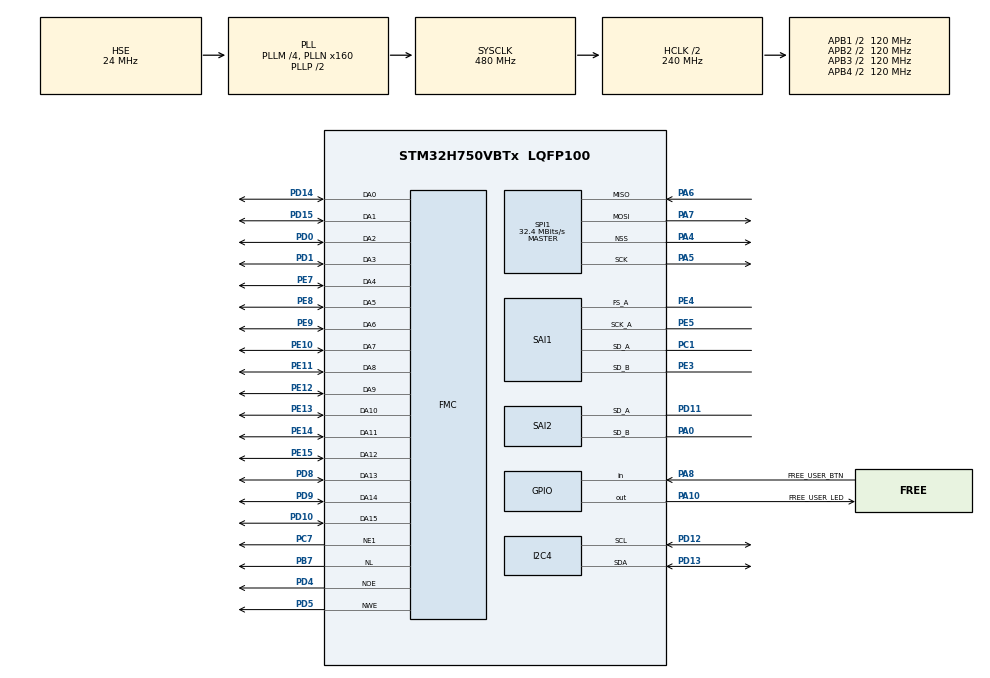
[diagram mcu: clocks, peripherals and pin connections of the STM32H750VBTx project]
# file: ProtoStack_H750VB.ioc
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CORTEX_M7.AccessPermission-Cortex_Memory_Protection_Unit_Region0_Settings=MPU_REGION_FULL_ACCESS
CORTEX_M7.BaseAddress-Cortex_Memory_Protection_Unit_Region0_Settings=0x60000000
CORTEX_M7.CPU_DCache=Enabled
CORTEX_M7.CPU_ICache=Enabled
CORTEX_M7.DisableExec-Cortex_Memory_Protection_Unit_Region0_Settings=MPU_INSTRUCTION_ACCESS_DISABLE
CORTEX_M7.Enable-Cortex_Memory_Protection_Unit_Region0_Settings=MPU_REGION_ENABLE
CORTEX_M7.Enable-Cortex_Memory_Protection_Unit_Region1_Settings=__NULL
CORTEX_M7.Enable-Cortex_Memory_Protection_Unit_Region2_Settings=__NULL
CORTEX_M7.IsBufferable-Cortex_Memory_Protection_Unit_Region0_Settings=MPU_ACCESS_BUFFERABLE
CORTEX_M7.MPU_Control=MPU_PRIVILEGED_DEFAULT
CORTEX_M7.Size-Cortex_Memory_Protection_Unit_Region0_Settings=MPU_REGION_SIZE_2MB
Dma.Request0=SAI1_A
Dma.Request1=SAI1_B
Dma.Request2=SAI2_A
Dma.Request3=SAI2_B
Dma.Request4=SPI1_RX
Dma.Request5=SPI1_TX
Dma.SAI1_A.0.Direction=DMA_PERIPH_TO_MEMORY
Dma.SAI1_A.0.EventEnable=DISABLE
Dma.SAI1_A.0.FIFOMode=DMA_FIFOMODE_DISABLE
Dma.SAI1_A.0.Instance=DMA1_Stream0
Dma.SAI1_A.0.MemDataAlignment=DMA_MDATAALIGN_HALFWORD
Dma.SAI1_A.0.MemInc=DMA_MINC_ENABLE
Dma.SAI1_A.0.Mode=DMA_CIRCULAR
Dma.SAI1_A.0.PeriphDataAlignment=DMA_PDATAALIGN_HALFWORD
Dma.SAI1_A.0.PeriphInc=DMA_PINC_DISABLE
Dma.SAI1_A.0.Polarity=HAL_DMAMUX_REQ_GEN_RISING
Dma.SAI1_A.0.Priority=DMA_PRIORITY_HIGH
Dma.SAI1_A.0.RequestNumber=1
Dma.SAI1_A.0.SignalID=NONE
Dma.SAI1_A.0.SyncEnable=DISABLE
Dma.SAI1_A.0.SyncPolarity=HAL_DMAMUX_SYNC_NO_EVENT
Dma.SAI1_A.0.SyncRequestNumber=1
Dma.SAI1_A.0.SyncSignalID=NONE
Dma.SAI1_B.1.Direction=DMA_MEMORY_TO_PERIPH
Dma.SAI1_B.1.EventEnable=DISABLE
Dma.SAI1_B.1.FIFOMode=DMA_FIFOMODE_DISABLE
Dma.SAI1_B.1.Instance=DMA1_Stream1
Dma.SAI1_B.1.MemDataAlignment=DMA_MDATAALIGN_HALFWORD
Dma.SAI1_B.1.MemInc=DMA_MINC_ENABLE
Dma.SAI1_B.1.Mode=DMA_CIRCULAR
Dma.SAI1_B.1.PeriphDataAlignment=DMA_PDATAALIGN_HALFWORD
Dma.SAI1_B.1.PeriphInc=DMA_PINC_DISABLE
Dma.SAI1_B.1.Polarity=HAL_DMAMUX_REQ_GEN_RISING
Dma.SAI1_B.1.Priority=DMA_PRIORITY_HIGH
Dma.SAI1_B.1.RequestNumber=1
Dma.SAI1_B.1.SignalID=NONE
Dma.SAI1_B.1.SyncEnable=DISABLE
Dma.SAI1_B.1.SyncPolarity=HAL_DMAMUX_SYNC_NO_EVENT
Dma.SAI1_B.1.SyncRequestNumber=1
Dma.SAI1_B.1.SyncSignalID=NONE
Dma.SAI2_A.2.Direction=DMA_PERIPH_TO_MEMORY
Dma.SAI2_A.2.EventEnable=DISABLE
Dma.SAI2_A.2.FIFOMode=DMA_FIFOMODE_DISABLE
Dma.SAI2_A.2.Instance=DMA1_Stream2
Dma.SAI2_A.2.MemDataAlignment=DMA_MDATAALIGN_HALFWORD
Dma.SAI2_A.2.MemInc=DMA_MINC_ENABLE
Dma.SAI2_A.2.Mode=DMA_CIRCULAR
Dma.SAI2_A.2.PeriphDataAlignment=DMA_PDATAALIGN_HALFWORD
Dma.SAI2_A.2.PeriphInc=DMA_PINC_DISABLE
Dma.SAI2_A.2.Polarity=HAL_DMAMUX_REQ_GEN_RISING
Dma.SAI2_A.2.Priority=DMA_PRIORITY_MEDIUM
Dma.SAI2_A.2.RequestNumber=1
Dma.SAI2_A.2.SignalID=NONE
Dma.SAI2_A.2.SyncEnable=DISABLE
Dma.SAI2_A.2.SyncPolarity=HAL_DMAMUX_SYNC_NO_EVENT
Dma.SAI2_A.2.SyncRequestNumber=1
Dma.SAI2_A.2.SyncSignalID=NONE
Dma.SAI2_B.3.Direction=DMA_MEMORY_TO_PERIPH
Dma.SAI2_B.3.EventEnable=DISABLE
Dma.SAI2_B.3.FIFOMode=DMA_FIFOMODE_DISABLE
Dma.SAI2_B.3.Instance=DMA1_Stream3
Dma.SAI2_B.3.MemDataAlignment=DMA_MDATAALIGN_HALFWORD
Dma.SAI2_B.3.MemInc=DMA_MINC_ENABLE
Dma.SAI2_B.3.Mode=DMA_CIRCULAR
Dma.SAI2_B.3.PeriphDataAlignment=DMA_PDATAALIGN_HALFWORD
Dma.SAI2_B.3.PeriphInc=DMA_PINC_DISABLE
Dma.SAI2_B.3.Polarity=HAL_DMAMUX_REQ_GEN_RISING
Dma.SAI2_B.3.Priority=DMA_PRIORITY_MEDIUM
Dma.SAI2_B.3.RequestNumber=1
Dma.SAI2_B.3.SignalID=NONE
Dma.SAI2_B.3.SyncEnable=DISABLE
Dma.SAI2_B.3.SyncPolarity=HAL_DMAMUX_SYNC_NO_EVENT
Dma.SAI2_B.3.SyncRequestNumber=1
Dma.SAI2_B.3.SyncSignalID=NONE
Dma.SPI1_RX.4.Direction=DMA_PERIPH_TO_MEMORY
Dma.SPI1_RX.4.EventEnable=DISABLE
Dma.SPI1_RX.4.FIFOMode=DMA_FIFOMODE_DISABLE
Dma.SPI1_RX.4.Instance=DMA1_Stream4
Dma.SPI1_RX.4.MemDataAlignment=DMA_MDATAALIGN_WORD
Dma.SPI1_RX.4.MemInc=DMA_MINC_ENABLE
Dma.SPI1_RX.4.Mode=DMA_NORMAL
Dma.SPI1_RX.4.PeriphDataAlignment=DMA_PDATAALIGN_WORD
Dma.SPI1_RX.4.PeriphInc=DMA_PINC_DISABLE
Dma.SPI1_RX.4.Polarity=HAL_DMAMUX_REQ_GEN_RISING
Dma.SPI1_RX.4.Priority=DMA_PRIORITY_VERY_HIGH
Dma.SPI1_RX.4.RequestNumber=1
Dma.SPI1_RX.4.SignalID=NONE
Dma.SPI1_RX.4.SyncEnable=DISABLE
Dma.SPI1_RX.4.SyncPolarity=HAL_DMAMUX_SYNC_NO_EVENT
Dma.SPI1_RX.4.SyncRequestNumber=1
Dma.SPI1_RX.4.SyncSignalID=NONE
Dma.SPI1_TX.5.Direction=DMA_MEMORY_TO_PERIPH
Dma.SPI1_TX.5.EventEnable=DISABLE
Dma.SPI1_TX.5.FIFOMode=DMA_FIFOMODE_DISABLE
Dma.SPI1_TX.5.Instance=DMA1_Stream5
Dma.SPI1_TX.5.MemDataAlignment=DMA_MDATAALIGN_WORD
Dma.SPI1_TX.5.MemInc=DMA_MINC_ENABLE
Dma.SPI1_TX.5.Mode=DMA_NORMAL
Dma.SPI1_TX.5.PeriphDataAlignment=DMA_PDATAALIGN_WORD
Dma.SPI1_TX.5.PeriphInc=DMA_PINC_DISABLE
Dma.SPI1_TX.5.Polarity=HAL_DMAMUX_REQ_GEN_RISING
Dma.SPI1_TX.5.Priority=DMA_PRIORITY_VERY_HIGH
Dma.SPI1_TX.5.RequestNumber=1
Dma.SPI1_TX.5.SignalID=NONE
Dma.SPI1_TX.5.SyncEnable=DISABLE
Dma.SPI1_TX.5.SyncPolarity=HAL_DMAMUX_SYNC_NO_EVENT
Dma.SPI1_TX.5.SyncRequestNumber=1
Dma.SPI1_TX.5.SyncSignalID=NONE
FMC.WriteOperation1=FMC_WRITE_OPERATION_ENABLE
I2C4.Timing=0x307075B1
Mcu.Family=STM32H7
Mcu.Name=STM32H750VBTx
Mcu.Package=LQFP100
NVIC.DMA1_Stream0_IRQn=true\:0\:0\:false\:false\:true\:false\:true\:true
NVIC.DMA1_Stream1_IRQn=true\:0\:0\:false\:false\:true\:false\:true\:true
NVIC.DMA1_Stream2_IRQn=true\:0\:0\:false\:false\:true\:false\:true\:true
NVIC.DMA1_Stream3_IRQn=true\:0\:0\:false\:false\:true\:false\:true\:true
NVIC.DMA1_Stream4_IRQn=true\:0\:0\:false\:false\:true\:false\:true\:true
NVIC.DMA1_Stream5_IRQn=true\:0\:0\:false\:false\:true\:false\:true\:true
NVIC.PriorityGroup=NVIC_PRIORITYGROUP_4
NVIC.SAI1_IRQn=true\:0\:0\:false\:false\:true\:true\:true\:true
NVIC.SAI2_IRQn=true\:0\:0\:false\:false\:true\:true\:true\:true
NVIC.SPI1_IRQn=true\:0\:0\:false\:false\:true\:true\:true\:true
NVIC.TIM2_IRQn=true\:0\:0\:false\:false\:true\:true\:true\:true
PA0.Mode=SAI_B_SyncSlave
PA0.Signal=SAI2_SD_B
PA10.GPIO_Label=FREE_USER_LED
PA10.PinState=GPIO_PIN_SET
PA10.Signal=GPIO_Output
PA13\ (JTMS/SWDIO).Mode=Serial_Wire
PA13\ (JTMS/SWDIO).PinAttribute=Free
PA13\ (JTMS/SWDIO).Signal=DEBUG_JTMS-SWDIO
PA14\ (JTCK/SWCLK).Mode=Serial_Wire
PA14\ (JTCK/SWCLK).PinAttribute=Free
PA14\ (JTCK/SWCLK).Signal=DEBUG_JTCK-SWCLK
PA4.GPIO_PuPd=GPIO_PULLUP
PA4.GPIO_Speed=GPIO_SPEED_FREQ_VERY_HIGH
PA4.Mode=NSS_Signal_Hard_Output
PA4.Signal=SPI1_NSS
PA5.GPIO_Speed=GPIO_SPEED_FREQ_VERY_HIGH
PA5.Mode=Full_Duplex_Master
PA5.Signal=SPI1_SCK
PA6.GPIO_Speed=GPIO_SPEED_FREQ_VERY_HIGH
PA6.Mode=Full_Duplex_Master
PA6.Signal=SPI1_MISO
PA7.GPIO_Speed=GPIO_SPEED_FREQ_VERY_HIGH
PA7.Mode=Full_Duplex_Master
PA7.Signal=SPI1_MOSI
PA8.GPIO_Label=FREE_USER_BTN
PA8.PinAttribute=Free
PA8.Signal=GPIO_Input
PB7.Signal=FMC_NL
PC1.Mode=SAI_A_AsyncSlave
PC1.PinAttribute=Free
PC1.Signal=SAI1_SD_A
PC7.Mode=NorPsramChipSelect1_1
PC7.Signal=FMC_NE1
PD0.Signal=FMC_D2_DA2
PD1.Signal=FMC_D3_DA3
PD10.Signal=FMC_D15_DA15
PD11.Mode=SAI_A_SyncSlave
PD11.Signal=SAI2_SD_A
PD12.Mode=I2C
PD12.Signal=I2C4_SCL
PD13.Mode=I2C
PD13.Signal=I2C4_SDA
PD14.Signal=FMC_D0_DA0
PD15.Signal=FMC_D1_DA1
PD4.Signal=FMC_NOE
PD5.GPIO_Speed_High_Default=GPIO_SPEED_FREQ_VERY_HIGH
PD5.Signal=FMC_NWE
PD8.Signal=FMC_D13_DA13
PD9.Signal=FMC_D14_DA14
PE10.Signal=FMC_D7_DA7
PE11.Signal=FMC_D8_DA8
PE12.Signal=FMC_D9_DA9
PE13.Signal=FMC_D10_DA10
PE14.Signal=FMC_D11_DA11
PE15.Signal=FMC_D12_DA12
PE3.Mode=SAI_B_SyncSlave
PE3.PinAttribute=Free
PE3.Signal=SAI1_SD_B
PE4.Mode=SAI_A_AsyncSlave
PE4.Signal=SAI1_FS_A
PE5.GPIO_Speed=GPIO_SPEED_FREQ_LOW
PE5.Mode=SAI_A_AsyncSlave
PE5.Signal=SAI1_SCK_A
PE7.Signal=FMC_D4_DA4
PE8.Signal=FMC_D5_DA5
PE9.Signal=FMC_D6_DA6
PH0-OSC_IN\ (PH0).Mode=HSE-External-Oscillator
PH0-OSC_IN\ (PH0).PinAttribute=Free
PH0-OSC_IN\ (PH0).Signal=RCC_OSC_IN
PH1-OSC_OUT\ (PH1).Mode=HSE-External-Oscillator
PH1-OSC_OUT\ (PH1).PinAttribute=Free
PH1-OSC_OUT\ (PH1).Signal=RCC_OSC_OUT
ProjectManager.HeapSize=0x200
ProjectManager.StackSize=0x400
ProjectManager.TargetToolchain=STM32CubeIDE
RCC.ADCCLockSelection=RCC_ADCCLKSOURCE_PLL2
RCC.ADCFreq_Value=129600000
RCC.APB1Freq_Value=120000000
RCC.APB2Freq_Value=120000000
RCC.APB3Freq_Value=120000000
RCC.APB4Freq_Value=120000000
RCC.CECCLockSelection=RCC_CECCLKSOURCE_LSI
RCC.CKPERSourceSelection=RCC_CLKPSOURCE_HSI
RCC.CSI_VALUE=4000000
RCC.CortexFreq_Value=60000000
RCC.Cortex_Div=SYSTICK_CLKSOURCE_HCLK_DIV8
RCC.Cortex_DivARG=SystemCoreClock/1000
RCC.D1PPRE=RCC_APB3_DIV2
RCC.D2PPRE1=RCC_APB1_DIV2
RCC.D2PPRE2=RCC_APB2_DIV2
RCC.D3PPRE=RCC_APB4_DIV2
RCC.DFSDMCLockSelection=RCC_DFSDM1CLKSOURCE_D2PCLK1
RCC.DIVM1=4
RCC.DIVM2=4
RCC.DIVM3=10
RCC.DIVN1=160
RCC.DIVN2=108
RCC.DIVN3=128
RCC.DIVP2=5
RCC.DIVP3=25
RCC.DIVQ1=20
RCC.DIVQ2=2
RCC.DIVQ3=16
RCC.DIVR1=10
RCC.DIVR2=3
RCC.DSICLockSelection=RCC_DSICLKSOURCE_PHY
RCC.DSIPHY_Div=8
RCC.DSITX_Div=4
RCC.DSI_PHY_VALUE=12288000
RCC.EXTERNAL_CLOCK_VALUE=12288000
RCC.EnbaleCSS=true
RCC.FDCANCLockSelection=RCC_FDCANCLKSOURCE_PLL
RCC.HCLKFreq_Value=240000000
RCC.HPRE=RCC_HCLK_DIV2
RCC.HSE_VALUE=24000000
RCC.HSIDiv=RCC_PLLSAIDIVR_4
RCC.HSI_VALUE=64000000
RCC.I2C123CLockSelection=RCC_I2C123CLKSOURCE_D2PCLK1
RCC.I2C4CLockSelection=RCC_I2C4CLKSOURCE_D3PCLK1
RCC.LPTIM1CLockSelection=RCC_LPTIM1CLKSOURCE_D2PCLK1
RCC.LPTIM2CLockSelection=RCC_LPTIM2CLKSOURCE_D3PCLK1
RCC.LPTIM345CLockSelection=RCC_LPTIM345CLKSOURCE_D3PCLK1
RCC.LPUART1CLockSelection=RCC_LPUART1CLKSOURCE_D3PCLK1
RCC.LSEState=RCC_LSE_OFF
RCC.LSE_VALUE=32768
RCC.PLL1_VCI_Range-AdvancedSettings=RCC_PLL1VCIRANGE_0
RCC.PLLDSIDev=2
RCC.PLLDSIIDF=DSI_PLL_IN_DIV1
RCC.PLLDSIMult=2
RCC.PLLDSINDIV=20
RCC.PLLDSIODF=DSI_PLL_OUT_DIV1
RCC.PLLFRACN=0
RCC.PLLSourceVirtual=RCC_PLLSOURCE_HSE
RCC.QSPICLockSelection=RCC_QSPICLKSOURCE_PLL2
RCC.RC48_VALUE=48000000
RCC.RCC_MCO1Source=RCC_MCO1SOURCE_HSI
RCC.RCC_MCO2Source=RCC_MCO2SOURCE_SYSCLK
RCC.RCC_MCODiv1=RCC_MCODIV_1
RCC.RCC_MCODiv2=RCC_MCODIV_1
RCC.RCC_RTC_Clock_Source_FROM_HSE=RCC_RTCCLKSOURCE_HSE_DIV2
RCC.RNGCLockSelection=RCC_RNGCLKSOURCE_HSI48
RCC.SAI1CLockSelection=RCC_SAI1CLKSOURCE_PLL3
RCC.SAI23CLockSelection=RCC_SAI23CLKSOURCE_PLL3
RCC.SAI4ACLockSelection=RCC_SAI4ACLKSOURCE_PLL
RCC.SAI4BCLockSelection=RCC_SAI4BCLKSOURCE_PLL
RCC.SPDIFCLockSelection=RCC_SPDIFRXCLKSOURCE_PLL
RCC.SPI123CLockSelection=RCC_SPI123CLKSOURCE_PLL2
RCC.SPI6CLockSelection=RCC_SPI6CLKSOURCE_PLL3
RCC.SWPCLockSelection=RCC_SWPMI1CLKSOURCE_D2PCLK1
RCC.SYSCLKFreq_VALUE=480000000
RCC.SYSCLKSource=RCC_SYSCLKSOURCE_PLLCLK
RCC.Spi45ClockSelection=RCC_SPI45CLKSOURCE_D2PCLK1
RCC.USART16CLockSelection=RCC_USART16CLKSOURCE_D2PCLK2
RCC.USART234578CLockSelection=RCC_USART234578CLKSOURCE_D2PCLK1
RCC.USBCLockSelection=RCC_USBCLKSOURCE_HSI48
RCC.USBFreq_Value=48000000
SAI1.AudioMode-SAI_B_SyncSlave=SAI_MODESLAVE_TX
SAI1.BasicDataSize-SAI_A_AsyncSlave=SAI_PROTOCOL_DATASIZE_16BITEXTENDED
SAI1.BasicDataSize-SAI_B_SyncSlave=SAI_PROTOCOL_DATASIZE_16BITEXTENDED
SAI1.FIFOThreshold-SAI_B_SyncSlave=SAI_FIFOTHRESHOLD_EMPTY
SAI1.InitProtocol-SAI_A_AsyncSlave=Enable
SAI1.InitProtocol-SAI_B_SyncSlave=Enable
SAI1.Instance-SAI_A_AsyncSlave=SAI$Index_Block_A
SAI1.Instance-SAI_B_SyncSlave=SAI$Index_Block_B
SAI1.SynchroExt=SAI_SYNCEXT_OUTBLOCKA_ENABLE
SAI1.Synchro_A=SAI_ASYNCHRONOUS
SAI1.Synchro_B=SAI_SYNCHRONOUS
SAI1.VirtualMode-SAI_A_AsyncSlave=VM_SLAVE
SAI1.VirtualMode-SAI_B_SyncSlave=VM_SLAVE
SAI1.VirtualProtocol-SAI_A_BASIC=VM_BASIC_PROTOCOL
SAI1.VirtualProtocol-SAI_B_BASIC=VM_BASIC_PROTOCOL
SAI2.AudioMode-SAI_B_SyncSlave=SAI_MODESLAVE_TX
SAI2.BasicDataSize-SAI_A_SyncSlave=SAI_PROTOCOL_DATASIZE_16BITEXTENDED
SAI2.BasicDataSize-SAI_B_SyncSlave=SAI_PROTOCOL_DATASIZE_16BITEXTENDED
SAI2.FIFOThreshold-SAI_B_SyncSlave=SAI_FIFOTHRESHOLD_EMPTY
SAI2.InitProtocol-SAI_A_SyncSlave=Enable
SAI2.InitProtocol-SAI_B_SyncSlave=Enable
SAI2.Instance-SAI_A_SyncSlave=SAI$Index_Block_A
SAI2.Instance-SAI_B_SyncSlave=SAI$Index_Block_B
SAI2.Synchro_A=SAI_SYNCHRONOUS_EXT_SAI1
SAI2.Synchro_B=SAI_SYNCHRONOUS
SAI2.VirtualMode-SAI_A_SyncSlave=VM_SLAVE
SAI2.VirtualMode-SAI_B_SyncSlave=VM_SLAVE
SAI2.VirtualProtocol-SAI_A_BASIC=VM_BASIC_PROTOCOL
SAI2.VirtualProtocol-SAI_B_BASIC=VM_BASIC_PROTOCOL
SH.FMC_D0_DA0.0=FMC_DA0,16b-da1
SH.FMC_D10_DA10.0=FMC_DA10,16b-da1
SH.FMC_D11_DA11.0=FMC_DA11,16b-da1
SH.FMC_D12_DA12.0=FMC_DA12,16b-da1
SH.FMC_D13_DA13.0=FMC_DA13,16b-da1
SH.FMC_D14_DA14.0=FMC_DA14,16b-da1
SH.FMC_D15_DA15.0=FMC_DA15,16b-da1
SH.FMC_D1_DA1.0=FMC_DA1,16b-da1
SH.FMC_D2_DA2.0=FMC_DA2,16b-da1
SH.FMC_D3_DA3.0=FMC_DA3,16b-da1
SH.FMC_D4_DA4.0=FMC_DA4,16b-da1
SH.FMC_D5_DA5.0=FMC_DA5,16b-da1
SH.FMC_D6_DA6.0=FMC_DA6,16b-da1
SH.FMC_D7_DA7.0=FMC_DA7,16b-da1
SH.FMC_D8_DA8.0=FMC_DA8,16b-da1
SH.FMC_D9_DA9.0=FMC_DA9,16b-da1
SH.FMC_NL.0=FMC_NL,AddressValid1
SH.FMC_NOE.0=FMC_NOE,MuxedPsram1
SH.FMC_NWE.0=FMC_NWE,MuxedPsram1
SPI1.BaudRatePrescaler=SPI_BAUDRATEPRESCALER_4
SPI1.CalculateBaudRate=32.4 MBits/s
SPI1.DataSize=SPI_DATASIZE_32BIT
SPI1.Direction=SPI_DIRECTION_2LINES
SPI1.MasterSSIdleness=SPI_MASTER_SS_IDLENESS_00CYCLE
SPI1.Mode=SPI_MODE_MASTER
SPI1.NSSPMode=SPI_NSS_PULSE_ENABLE
SPI1.VirtualNSS=VM_NSSHARD
SPI1.VirtualType=VM_MASTER
TIM2.ClockDivision=TIM_CLOCKDIVISION_DIV4
TIM2.CounterMode=TIM_COUNTERMODE_DOWN
TIM2.Period=139999999
VP_CRC_VS_CRC.Mode=CRC_Activate
VP_RNG_VS_RNG.Mode=RNG_Activate
VP_SAI1_VP_$IpInstance_SAIA_SAI_BASIC.Mode=SAI_A_BASIC
VP_SAI1_VP_$IpInstance_SAIB_SAI_BASIC.Mode=SAI_B_BASIC
VP_SAI1_VP_$IpInstance_SYNCHRO_EXTERNAL.Mode=SynchroExternal
VP_SAI2_VP_$IpInstance_SAIA_SAI_BASIC.Mode=SAI_A_BASIC
VP_SAI2_VP_$IpInstance_SAIB_SAI_BASIC.Mode=SAI_B_BASIC
VP_TIM2_VS_ClockSourceINT.Mode=Internal
board=custom

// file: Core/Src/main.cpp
/* USER CODE BEGIN Header */
/**
  ******************************************************************************
  * @file           : main.c
  * @brief          : Main program body
  ******************************************************************************
  * @attention
  *
  * Copyright (c) 2022 STMicroelectronics.
  * All rights reserved.
  *
  * This software is licensed under terms that can be found in the LICENSE file
  * in the root directory of this software component.
  * If no LICENSE file comes with this software, it is provided AS-IS.
  *
  ******************************************************************************
  */
/* USER CODE END Header */
#include "main.h"
#include "crc.h"
#include "dma.h"
#include "i2c.h"
#include "rng.h"
#include "sai.h"
#include "spi.h"
#include "tim.h"
#include "gpio.h"
#include "fmc.h"

/* USER CODE BEGIN Includes */

///////////////////////////////////////////////////////////////////
// write manually init SAI1 after DMA - function call in cube is disabled (wrong order generation)
// first enable codec1 (slave), then codec0 (master)
// disable d-cache to ensure correct data transfers (particulary DMA)
//
//
//__attribute__ ((section(".ramd"), used))
//
// F4 generate code, ctrlshift- split code, ctrl- font smaller, ctrlshift+ font bigger
///////////////////////////////////////////////////////////////////
#include <stdio.h>
#include <string.h>

#include "Handy.h"
#include "../../Drivers/HW/wm8731.h"
#include "../../Drivers/HW/LY68L6400.h"
#include "../../Modules/AudioSysObjects.hpp"

#define SRAM_ADDR 0x60000000

/* USER CODE END Includes */

void SystemClock_Config(void);
void PeriphCommonClock_Config(void);
static void MPU_Config(void);

int main(void)
{

  /* MPU Configuration--------------------------------------------------------*/
  MPU_Config();

  /* Enable I-Cache---------------------------------------------------------*/
  SCB_EnableICache();

  /* Enable D-Cache---------------------------------------------------------*/
//  SCB_EnableDCache();

  /* MCU Configuration--------------------------------------------------------*/

  /* Reset of all peripherals, Initializes the Flash interface and the Systick. */
  HAL_Init();

  /* Configure the system clock */
  SystemClock_Config();

/* Configure the peripherals common clocks */
  PeriphCommonClock_Config();

  /* Initialize all configured peripherals */
  MX_GPIO_Init();
  MX_DMA_Init();
  MX_CRC_Init();
  MX_SAI2_Init();
  MX_SAI1_Init();
  MX_RNG_Init();
  MX_TIM2_Init();
  MX_I2C4_Init();
  MX_SPI1_Init();
  MX_FMC_Init();
  /* USER CODE BEGIN 2 */

	CodecPowerUp(CODEC_ADDRESS_1);
	SetHPGain(-8,CODEC_ADDRESS_1);

	CodecPowerUp(CODEC_ADDRESS_0);
	SetHPGain(-8,CODEC_ADDRESS_0);

	saiAdapter_Init(&sai2adapter,HW_SAI2);
	saiAdapter_Init(&sai1adapter,HW_SAI1);

//////////////////// == EXTERNAL SRAM TEST == ////////////////////////////
//	uint32_t addr = 0x0000;
//	uint32_t srcBuf[] = {0x0, 0x1, 0x2, 0x3, 0x4};
//	HAL_SRAM_Write_32b(hsram, pAddress, pSrcBuffer, BufferSize);

//uint32_t *sram_base = (uint32_t*)SRAM_ADDR;
//for(u32 mb = 0; mb < 2; mb++)
//	for(u32 kb = 0; kb < 1024; kb++)
//		for(u32 wrd = 0; wrd < 1024/4; wrd++)
//			*(sram_base + (mb*1024*1024/4) + (kb*1024/4) + wrd) = (mb*1024*1024/4) + (kb*1024/4) + wrd;
//
//u32 readbuf[20];
//for(u32 i = 0; i< 20; i++)
//	readbuf[i] = *(sram_base + 400 + i*4);
//////////////////// ======================= ////////////////////////////

HAL_Delay(1);

//////////////////// == EXTERNAL PSRAM TEST == //////////////////////////
//uint16_t a[256];
//for(uint16_t i = 0; i < 256; i++)
//	a[i] = i;
//
//PsramWrite(a, 256,0);
//uint16_t rxbuf[256 + 2];
//PsramRead(rxbuf, 256,0);
//HAL_Delay(1);
//////////////////// ======================= //////////////////////////

	audioSystem.includeModules();

////////////////////////////////////////////
  /* USER CODE END 2 */

  /* Infinite loop */
  /* USER CODE BEGIN WHILE */
  while (1)
  {

	  audioSystem.update();
//		HAL_GPIO_TogglePin(FREE_USER_LED_GPIO_Port, FREE_USER_LED_Pin);

    /* USER CODE END WHILE */

  }
}

void SystemClock_Config(void)
{
  RCC_OscInitTypeDef RCC_OscInitStruct = {0};
  RCC_ClkInitTypeDef RCC_ClkInitStruct = {0};

  /** Supply configuration update enable
  */
  HAL_PWREx_ConfigSupply(PWR_LDO_SUPPLY);

  /** Configure the main internal regulator output voltage
  */
  __HAL_PWR_VOLTAGESCALING_CONFIG(PWR_REGULATOR_VOLTAGE_SCALE1);

  while(!__HAL_PWR_GET_FLAG(PWR_FLAG_VOSRDY)) {}

  __HAL_RCC_SYSCFG_CLK_ENABLE();
  __HAL_PWR_VOLTAGESCALING_CONFIG(PWR_REGULATOR_VOLTAGE_SCALE0);

  while(!__HAL_PWR_GET_FLAG(PWR_FLAG_VOSRDY)) {}

  /** Macro to configure the PLL clock source
  */
  __HAL_RCC_PLL_PLLSOURCE_CONFIG(RCC_PLLSOURCE_HSE);

  /** Initializes the RCC Oscillators according to the specified parameters
  * in the RCC_OscInitTypeDef structure.
  */
  RCC_OscInitStruct.OscillatorType = RCC_OSCILLATORTYPE_HSI48|RCC_OSCILLATORTYPE_HSE;
  RCC_OscInitStruct.HSEState = RCC_HSE_ON;
  RCC_OscInitStruct.HSI48State = RCC_HSI48_ON;
  RCC_OscInitStruct.PLL.PLLState = RCC_PLL_ON;
  RCC_OscInitStruct.PLL.PLLSource = RCC_PLLSOURCE_HSE;
  RCC_OscInitStruct.PLL.PLLM = 4;
  RCC_OscInitStruct.PLL.PLLN = 160;
  RCC_OscInitStruct.PLL.PLLP = 2;
  RCC_OscInitStruct.PLL.PLLQ = 20;
  RCC_OscInitStruct.PLL.PLLR = 10;
  RCC_OscInitStruct.PLL.PLLRGE = RCC_PLL1VCIRANGE_2;
  RCC_OscInitStruct.PLL.PLLVCOSEL = RCC_PLL1VCOWIDE;
  RCC_OscInitStruct.PLL.PLLFRACN = 0;
  if (HAL_RCC_OscConfig(&RCC_OscInitStruct) != HAL_OK)
  {
    Error_Handler();
  }

  /** Initializes the CPU, AHB and APB buses clocks
  */
  RCC_ClkInitStruct.ClockType = RCC_CLOCKTYPE_HCLK|RCC_CLOCKTYPE_SYSCLK
                              |RCC_CLOCKTYPE_PCLK1|RCC_CLOCKTYPE_PCLK2
                              |RCC_CLOCKTYPE_D3PCLK1|RCC_CLOCKTYPE_D1PCLK1;
  RCC_ClkInitStruct.SYSCLKSource = RCC_SYSCLKSOURCE_PLLCLK;
  RCC_ClkInitStruct.SYSCLKDivider = RCC_SYSCLK_DIV1;
  RCC_ClkInitStruct.AHBCLKDivider = RCC_HCLK_DIV2;
  RCC_ClkInitStruct.APB3CLKDivider = RCC_APB3_DIV2;
  RCC_ClkInitStruct.APB1CLKDivider = RCC_APB1_DIV2;
  RCC_ClkInitStruct.APB2CLKDivider = RCC_APB2_DIV2;
  RCC_ClkInitStruct.APB4CLKDivider = RCC_APB4_DIV2;

  if (HAL_RCC_ClockConfig(&RCC_ClkInitStruct, FLASH_LATENCY_4) != HAL_OK)
  {
    Error_Handler();
  }

  /** Enables the Clock Security System
  */
  HAL_RCC_EnableCSS();
}

void PeriphCommonClock_Config(void)
{
  RCC_PeriphCLKInitTypeDef PeriphClkInitStruct = {0};

  /** Initializes the peripherals clock
  */
  PeriphClkInitStruct.PeriphClockSelection = RCC_PERIPHCLK_SAI1|RCC_PERIPHCLK_SAI2;
  PeriphClkInitStruct.PLL3.PLL3M = 10;
  PeriphClkInitStruct.PLL3.PLL3N = 128;
  PeriphClkInitStruct.PLL3.PLL3P = 25;
  PeriphClkInitStruct.PLL3.PLL3Q = 16;
  PeriphClkInitStruct.PLL3.PLL3R = 2;
  PeriphClkInitStruct.PLL3.PLL3RGE = RCC_PLL3VCIRANGE_1;
  PeriphClkInitStruct.PLL3.PLL3VCOSEL = RCC_PLL3VCOWIDE;
  PeriphClkInitStruct.PLL3.PLL3FRACN = 0;
  PeriphClkInitStruct.Sai1ClockSelection = RCC_SAI1CLKSOURCE_PLL3;
  PeriphClkInitStruct.Sai23ClockSelection = RCC_SAI23CLKSOURCE_PLL3;
  if (HAL_RCCEx_PeriphCLKConfig(&PeriphClkInitStruct) != HAL_OK)
  {
    Error_Handler();
  }
}

/* MPU Configuration */

void MPU_Config(void)
{
  MPU_Region_InitTypeDef MPU_InitStruct = {0};

  /* Disables the MPU */
  HAL_MPU_Disable();

  /** Initializes and configures the Region and the memory to be protected
  */
  MPU_InitStruct.Enable = MPU_REGION_ENABLE;
  MPU_InitStruct.Number = MPU_REGION_NUMBER0;
  MPU_InitStruct.BaseAddress = 0x60000000;
  MPU_InitStruct.Size = MPU_REGION_SIZE_2MB;
  MPU_InitStruct.SubRegionDisable = 0x0;
  MPU_InitStruct.TypeExtField = MPU_TEX_LEVEL0;
  MPU_InitStruct.AccessPermission = MPU_REGION_FULL_ACCESS;
  MPU_InitStruct.DisableExec = MPU_INSTRUCTION_ACCESS_DISABLE;
  MPU_InitStruct.IsShareable = MPU_ACCESS_NOT_SHAREABLE;
  MPU_InitStruct.IsCacheable = MPU_ACCESS_NOT_CACHEABLE;
  MPU_InitStruct.IsBufferable = MPU_ACCESS_BUFFERABLE;

  HAL_MPU_ConfigRegion(&MPU_InitStruct);
  /* Enables the MPU */
  HAL_MPU_Enable(MPU_PRIVILEGED_DEFAULT);

}

void Error_Handler(void)
{
  __disable_irq();
  while (1)
  {
  }
}
